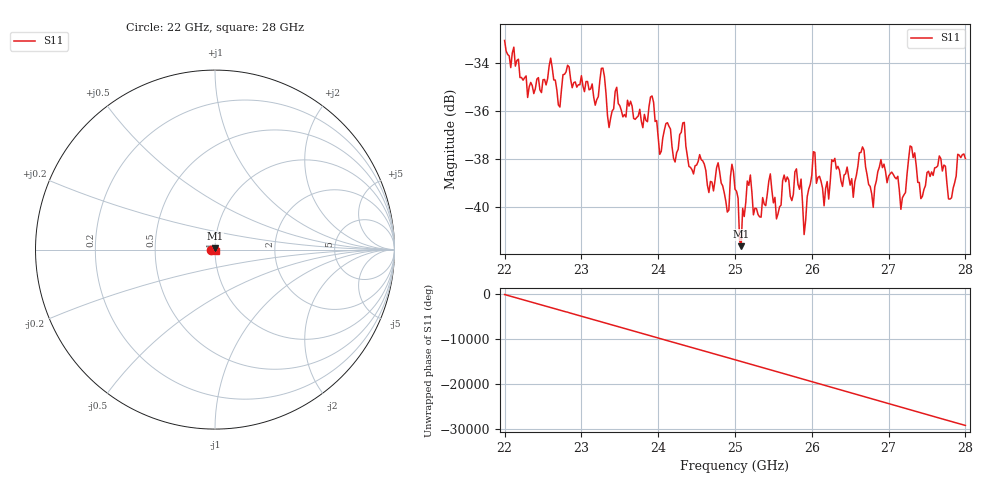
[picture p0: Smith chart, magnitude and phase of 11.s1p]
#  HZ  S  RI  R  50.00
! Rohde & Schwarz ZVA40 4Ports - Version 3.90 - 1145.1110k42 SN: 100403
! Date: 2023-10-04 10:22:44
! Measurement: S12
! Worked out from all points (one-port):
!   301 points, 22 GHz to 28 GHz, reference 50 ohm
!   lowest |S11| = -41.6 dB at 25.08 GHz (marker M1), VSWR 1.02, Z = 49.9 + j0.822 ohm
!   |S11| at or under -10 dB: start of sweep to end of sweep
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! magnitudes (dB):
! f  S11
! 22 GHz  -33.1
! 22.3 GHz  -35.4
! 22.76 GHz  -34.5
! 23.5 GHz  -35.8
! 23.92 GHz  -35.4
! 24.02 GHz  -37.8
! 24.26 GHz  -37.6
! 25 GHz  -39.2
! 25.08 GHz  -41.6
! 25.2 GHz  -38.7
! 25.24 GHz  -40.3
! 25.46 GHz  -38.6
! 25.76 GHz  -39.5
! 25.86 GHz  -38.8
! 25.9 GHz  -41.1
! 26.02 GHz  -37.7
! 26.16 GHz  -39.9
! 26.26 GHz  -38.0
! 26.5 GHz  -39.1
! 26.66 GHz  -37.5
! 26.8 GHz  -40.0
! 26.9 GHz  -38.0
! 27.16 GHz  -40.1
! 27.26 GHz  -38.0
! 27.42 GHz  -39.6
! 27.66 GHz  -37.9
! 27.8 GHz  -39.7
! 28 GHz  -38.0
